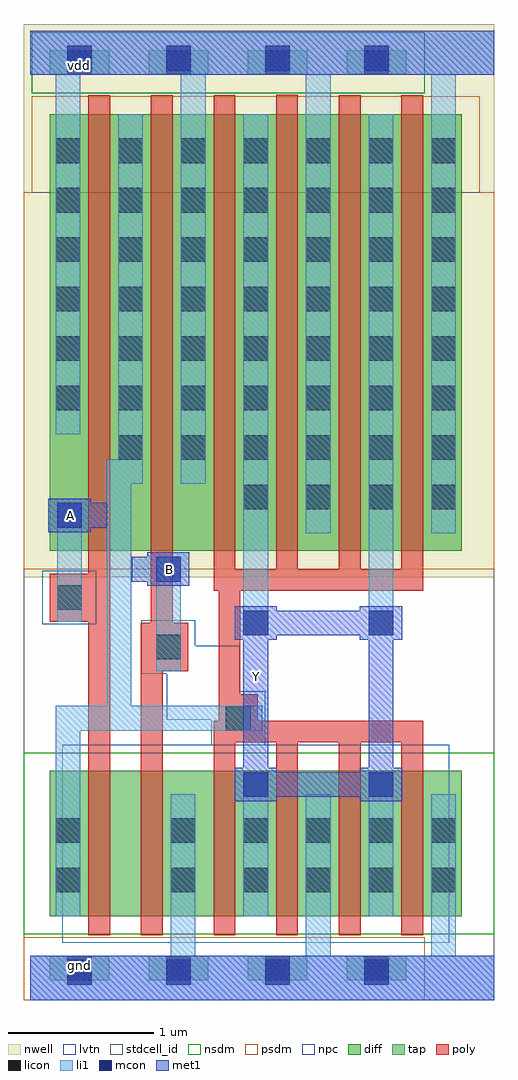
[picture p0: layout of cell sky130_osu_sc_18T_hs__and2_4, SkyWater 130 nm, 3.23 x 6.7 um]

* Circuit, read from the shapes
.subckt sky130_osu_sc_18T_hs__and2_4 A B Y gnd vdd
XM1 n1 A n2 gnd sky130_fd_pr__nfet_01v8_lvt w=1 l=0.15
XM2 gnd B n1 gnd sky130_fd_pr__nfet_01v8_lvt w=1 l=0.15
XM3 Y n2 gnd gnd sky130_fd_pr__nfet_01v8_lvt w=1 l=0.15 m=4
XM4 n2 A vdd vdd sky130_fd_pr__pfet_01v8 w=3 l=0.15
XM5 vdd B n2 vdd sky130_fd_pr__pfet_01v8 w=3 l=0.15
XM6 Y n2 vdd vdd sky130_fd_pr__pfet_01v8 w=3 l=0.15 m=4
.ends

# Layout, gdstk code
import gdstk
lib = gdstk.Library(unit=1e-6, precision=1e-09)
def R(c, l, rs):  # rectangles x0, y0, x1, y1
    for r in rs: c.add(gdstk.rectangle(r[:2], r[2:], *l))
def A(c, l, x, y, w, h, nx, ny, dx, dy):  # array of equal rectangles
    R(c, l, [(x+i*dx, y+j*dy, x+i*dx+w, y+j*dy+h) for i in range(nx) for j in range(ny)])
nwell = (64, 20)
diff = (65, 20)
tap = (65, 44)
poly = (66, 20)
licon = (66, 44)
li1 = (67, 20)
mcon = (67, 44)
met1 = (68, 20)
stdcell_id = (81, 4)
nsdm = (93, 44)
psdm = (94, 20)
npc = (95, 20)
lvtn = (125, 44)

sky130_osu_sc_18t_hs__an = lib.new_cell('sky130_osu_sc_18T_hs__and2_4')
R(sky130_osu_sc_18t_hs__an, nwell, [(-0.045,2.905,3.19,6.705)])
R(sky130_osu_sc_18t_hs__an, diff, [(0.135,0.575,2.965,1.575), (0.135,3.085,2.965,6.085)])
A(sky130_osu_sc_18t_hs__an, tap, 0.135, 0.135, 0.41, 0.17, 4, 2, 0.68, 6.22)
A(sky130_osu_sc_18t_hs__an, poly, 1.26, 0.445, 0.15, 1.325, 4, 1, 0.43, 0)
R(sky130_osu_sc_18t_hs__an, poly, [(0.4,0.445,0.55,2.6), (0.76,0.445,0.91,2.26), (1.26,1.77,2.7,1.92), (1.295,1.92,1.565,2.1), (1.295,2.1,1.445,2.81), (0.76,2.26,1.085,2.59), (0.83,2.59,0.98,6.215), (0.135,2.6,0.55,2.93), (1.26,2.81,2.7,2.96), (0.4,2.93,0.55,6.215), (1.26,2.96,1.41,6.215), (1.69,2.96,1.84,6.22), (2.12,2.96,2.27,6.215), (2.55,2.96,2.7,6.215)])
A(sky130_osu_sc_18t_hs__an, licon, 0.255, 0.135, 0.17, 0.17, 4, 2, 0.68, 6.22)
A(sky130_osu_sc_18t_hs__an, licon, 1.465, 0.74, 0.17, 0.17, 4, 2, 0.43, 0.34)
A(sky130_osu_sc_18t_hs__an, licon, 1.465, 3.37, 0.17, 0.17, 4, 1, 0.43, 0)
A(sky130_osu_sc_18t_hs__an, licon, 0.605, 3.71, 0.17, 0.17, 6, 1, 0.43, 0)
A(sky130_osu_sc_18t_hs__an, licon, 0.175, 4.05, 0.17, 0.17, 7, 6, 0.43, 0.34)
R(sky130_osu_sc_18t_hs__an, licon, [(0.175,0.74,0.345,0.91), (0.965,0.74,1.135,0.91), (0.175,1.08,0.345,1.25), (0.965,1.08,1.135,1.25), (1.345,1.85,1.515,2.02), (0.865,2.34,1.035,2.51), (0.185,2.68,0.355,2.85)])
R(sky130_osu_sc_18t_hs__an, li1, [(0,0,3.19,0.305), (0.965,0.305,1.135,1.415), (1.895,0.305,2.065,1.415), (2.755,0.305,2.925,1.415), (0.175,0.575,0.345,1.85), (1.465,0.575,1.635,1.565), (2.325,0.575,2.495,1.565), (0.175,1.85,1.595,2.02), (0.525,2.02,0.695,3.545), (0.865,2.26,1.035,3.045), (1.465,2.505,1.635,6.085), (2.325,2.505,2.495,6.085), (0.185,2.6,0.355,3.415), (1.895,3.205,2.065,6.355), (2.755,3.205,2.925,6.355), (0.525,3.545,0.775,3.715), (1.035,3.545,1.205,6.355), (0.605,3.715,0.775,6.085), (0.175,3.885,0.345,6.355), (0,6.355,3.19,6.66)])
A(sky130_osu_sc_18t_hs__an, mcon, 0.255, 0.105, 0.17, 0.17, 4, 2, 0.68, 6.28)
R(sky130_osu_sc_18t_hs__an, mcon, [(1.465,1.395,1.635,1.565), (2.325,1.395,2.495,1.565), (1.465,2.505,1.635,2.675), (2.325,2.505,2.495,2.675), (0.865,2.875,1.035,3.045), (0.185,3.245,0.355,3.415)])
R(sky130_osu_sc_18t_hs__an, met1, [(0,0,3.19,0.305), (1.405,1.365,1.695,1.395), (2.265,1.365,2.555,1.395), (1.405,1.395,2.555,1.565), (1.405,1.565,1.695,1.595), (2.265,1.565,2.555,1.595), (1.465,1.595,1.635,2.475), (2.325,1.595,2.495,2.475), (1.405,2.475,1.695,2.505), (2.265,2.475,2.555,2.505), (1.405,2.505,2.555,2.675), (1.405,2.675,1.695,2.705), (2.265,2.675,2.555,2.705), (0.805,2.845,1.095,2.875), (0.7,2.875,1.095,3.045), (0.805,3.045,1.095,3.075), (0.125,3.215,0.415,3.245), (0.125,3.245,0.525,3.415), (0.125,3.415,0.415,3.445), (0,6.355,3.19,6.66)])
R(sky130_osu_sc_18t_hs__an, stdcell_id, [(-0.045,0,3.19,5.55)])
R(sky130_osu_sc_18t_hs__an, nsdm, [(-0.045,0.45,3.19,1.7), (0.01,6.23,2.71,6.65)])
R(sky130_osu_sc_18t_hs__an, psdm, [(-0.045,0,2.71,0.43), (-0.045,2.96,3.19,5.55), (0.01,5.55,3.09,6.21)])
R(sky130_osu_sc_18t_hs__an, npc, [(1.245,1.75,1.615,1.925), (0.94,1.925,1.615,2.12), (0.94,2.12,1.44,2.24), (0.765,2.24,1.44,2.435), (0.765,2.435,1.135,2.61), (0.085,2.58,0.455,2.95)])
R(sky130_osu_sc_18t_hs__an, lvtn, [(0.22,0.395,2.88,1.755)])
sky130_osu_sc_18t_hs__an.add(gdstk.Label('gnd', (0.34,0.24), layer=68, texttype=16))
sky130_osu_sc_18t_hs__an.add(gdstk.Label('vdd', (0.34,6.42), layer=68, texttype=16))
sky130_osu_sc_18t_hs__an.add(gdstk.Label('Y', (1.555,2.22), layer=68, texttype=5))
sky130_osu_sc_18t_hs__an.add(gdstk.Label('A', (0.275,3.33), layer=68, texttype=5))
sky130_osu_sc_18t_hs__an.add(gdstk.Label('B', (0.955,2.96), layer=68, texttype=5))

lib.write_gds('sky130_osu_sc_18T_hs__and2_4.gds')
